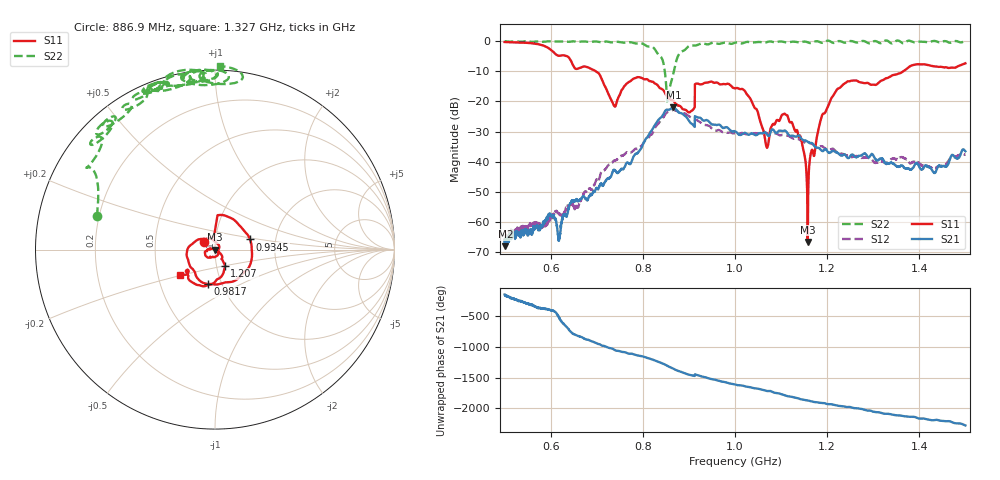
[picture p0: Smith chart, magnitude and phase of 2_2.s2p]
!Agilent Technologies,E8364B,US42250235,A.06.04.32
!Agilent E8364B: A.06.04.32
!Date: Thursday, October 01, 2020 15:56:59
!Correction: S11(Full 2 Port(1,2)) S21(Full 2 Port(1,2)) S12(Full 2 Port(1,2)) S22(Full 2 Port(1,2))
!S2P File: Measurements: S11, S21, S12, S22:
# Hz S  dB  R 50
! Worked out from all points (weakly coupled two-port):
!   2650 points, 500 MHz to 1.5 GHz, reference 50 ohm
!   highest |S21| = -21.94 dB at 866.2 MHz (marker M1); lowest = -67.9 dB at 501.9 MHz (marker M2)
!   lowest |S11| = -66.5 dB at 1.158 GHz (marker M3), VSWR 1.00, Z = 50 - j0.0381 ohm
!   |S11| at or under -10 dB: 697.7 MHz to 1.365 GHz (667.6 MHz wide, 64.7 % of centre)
!   |S22| runs from -20.3 to 0.2 dB; largest |S21 - S12| = 0.023
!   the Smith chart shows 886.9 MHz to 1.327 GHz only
!   S11 on the Smith chart (normalised r, x): 886.9 MHz: 0.88, +0.08; 934.5 MHz: 1.47, +0.17; 981.7 MHz: 0.86, -0.34; 1.207 GHz: 1.10, -0.20; 1.327 GHz: 0.65, -0.19
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5e8  -0.31 -175.1  -66.22 -147.5  -66.08 -154.7  -0.05 142.3
5.018875e8  -0.33 -176.1  -67.94 -167.0  -65.80 -158.9  -0.06 143.0
5.868252e8  -1.64 126.6  -59.55 -20.6  -60.59 -13.8  -0.23 128.8
6.185353e8  -4.89 110.2  -65.20 -161.7  -57.36 -79.6  -0.12 129.6
6.668554e8  -8.68 96.7  -52.11 -118.4  -52.34 -160.7  -0.14 123.8
7.378256e8  -21.49 69.6  -42.62 35.0  -39.53 31.8  -0.31 109.7
8.337108e8  -14.95 -32.0  -26.14 -162.1  -27.36 -158.6  -4.52 56.4
8.544734e8  -18.55 -87.8  -22.73 127.5  -23.47 140.0  -20.23 -49.1
8.661759e8  -19.69 -127.9  -21.94 87.1  -22.70 101.9  -10.76 -155.4
8.869385e8  -22.58 144.1  -24.21 23.3  -23.93 43.4  -3.30 164.1
9.345036e8  -13.84 16.2  -26.32 -49.8  -27.78 -60.2  -0.90 139.7
9.816912e8  -14.19 -101.2  -28.53 -139.2  -30.33 -137.2  -0.57 131.7
1.000189e9  -15.66 -137.6  -29.88 -170.8  -30.54 -165.3  -0.52 120.3
1.068894e9  -35.26 -13.7  -30.82 84.5  -30.47 82.4  -0.37 107.5
1.111174e9  -24.51 -157.5  -29.97 5.9  -31.23 11.2  -0.43 112.2
1.144017e9  -32.76 166.1  -32.31 -51.9  -32.99 -43.5  -0.39 105.7
1.157984e9  -66.51 -53.7  -33.36 -71.1  -33.75 -61.1  -0.42 111.3
1.166667e9  -36.10 -60.5  -33.79 -84.4  -34.05 -77.1  -0.58 100.9
1.207437e9  -19.49 -58.8  -36.89 -130.8  -35.93 -128.6  -0.15 106.8
1.327482e9  -12.33 -144.4  -40.64 73.7  -40.37 89.4  0.20 88.5
1.333522e9  -12.03 -145.4  -40.57 71.1  -39.85 85.3  -0.14 97.5
1.5e9  -7.36 147.6  -36.51 -116.6  -37.64 -121.7  0.12 70.8
